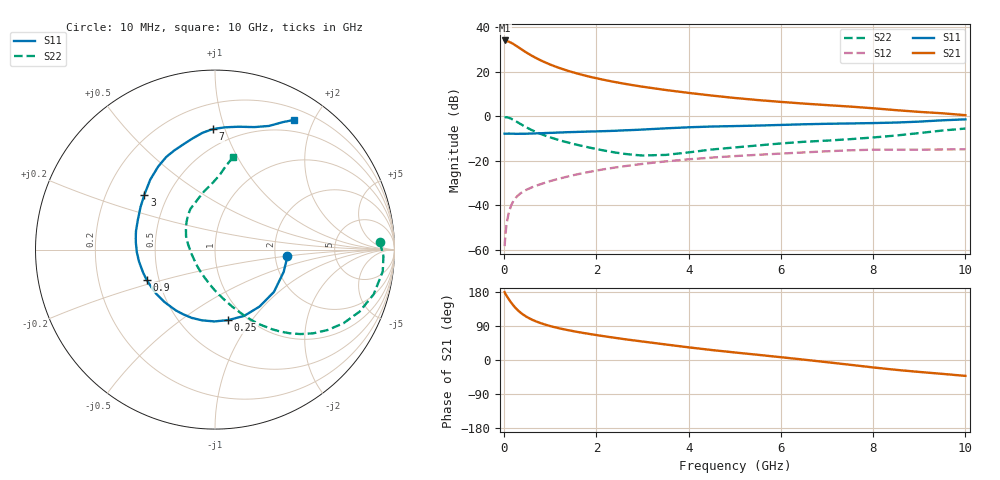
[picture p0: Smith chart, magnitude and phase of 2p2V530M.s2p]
! (c) 2009  Infineon Technologies AG, Munich
! Infineon Technologies  Discrete & RF Semiconductors
! BFP420
! VCE =  2.5 V,  IC =  30 mA
! Common Emitter S-Parameters:  Nov 2009
# GHz  S  MA  R  50
!  f  S11  S21  S12  S22
! GHz  MAG  ANG  MAG  ANG  MAG  ANG  MAG  ANG
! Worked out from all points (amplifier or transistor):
!   46 points, 10 MHz to 10 GHz, reference 50 ohm
!   highest |S21| = 34.0 dB at 10 MHz (marker M1)
!   |S21| within 3 dB of that: start of sweep to 304.7 MHz
!   unconditionally stable (mu >= 1): 1.534 GHz to end of sweep
!   at 300 MHz: K = 0.40, MSG = 33.3 dB, |S12| = -35.7 dB
!   at 1.7 GHz: K = 1.03, MAG = 21.0 dB, |S12| = -25.7 dB
!   at 10 GHz: K = 1.06, MAG = 6.2 dB, |S12| = -14.9 dB
!   lowest NFmin = 1.51 dB at 900 MHz
!   S11 on the Smith chart (normalised r, x): 10 MHz: 2.33, -0.19; 250 MHz: 0.83, -0.78; 900 MHz: 0.43, -0.17; 3 GHz: 0.37, +0.30; 7 GHz: 0.37, +0.91; 10 GHz: 0.34, +1.73
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0.01  0.4028 -4.8  49.95 179.2  0.0012 110.4  0.9203 2.5
0.02  0.4036 -7.2  48.93 176.0  0.0017 98.7  0.9391 -2.2
0.05  0.4024 -18.0  48.44 170.1  0.0037 85.7  0.9425 -7.4
0.1  0.4042 -35.7  47 160.6  0.0068 78.9  0.9187 -15.7
0.15  0.4028 -51.9  44.48 151.8  0.0098 74.4  0.8761 -23.3
0.2  0.4036 -66.2  41.6 144.0  0.0124 70.0  0.8251 -29.8
0.25  0.3995 -79.3  38.46 137.0  0.0146 66.8  0.7714 -35.5
0.35  0.4007 -100.4  32.9 125.6  0.0183 62.5  0.6691 -44.7
0.4  0.402 -108.8  30.4 120.9  0.0198 61.0  0.6241 -48.3
0.5  0.403 -122.8  26.1 113.0  0.0226 59.2  0.5466 -54.3
0.6  0.4057 -133.9  22.68 106.6  0.0251 58.2  0.4849 -59.2
0.7  0.4098 -142.9  19.94 101.4  0.0275 57.8  0.4353 -63.2
0.9  0.4166 -156.3  15.89 93.0  0.0322 57.6  0.3615 -69.8
1.3  0.4315 -174.8  11.08 80.9  0.042 57.0  0.2687 -81.8
1.7  0.4455 172.2  8.409 71.7  0.0521 55.5  0.2124 -93.8
2.2  0.4603 159.2  6.398 62.1  0.0649 52.3  0.166 -110.5
3  0.4987 142.1  4.574 48.8  0.0845 45.7  0.1305 -146.8
3.5  0.531 132.8  3.861 41.0  0.096 41.0  0.1344 -171.8
5.5  0.6125 106.7  2.291 13.7  0.1352 22.2  0.2192 136.5
7  0.6719 90.9  1.765 -5.8  0.1622 8.0  0.2815 113.6
8.5  0.7164 72.3  1.359 -26.0  0.1763 -9.2  0.3664 92.8
10  0.8453 58.7  1.049 -41.9  0.1798 -20.5  0.5247 78.9
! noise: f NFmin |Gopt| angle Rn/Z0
0.9  1.51  0.26  -155  0.13
1.8  1.78  0.33  -142  0.14
2.4  1.96  0.3  -136  0.18
3  1.98  0.38  -127  0.2
4  2.11  0.47  -111  0.31
5  2.57  0.53  -94  0.51
6  3  0.57  -82  0.74
